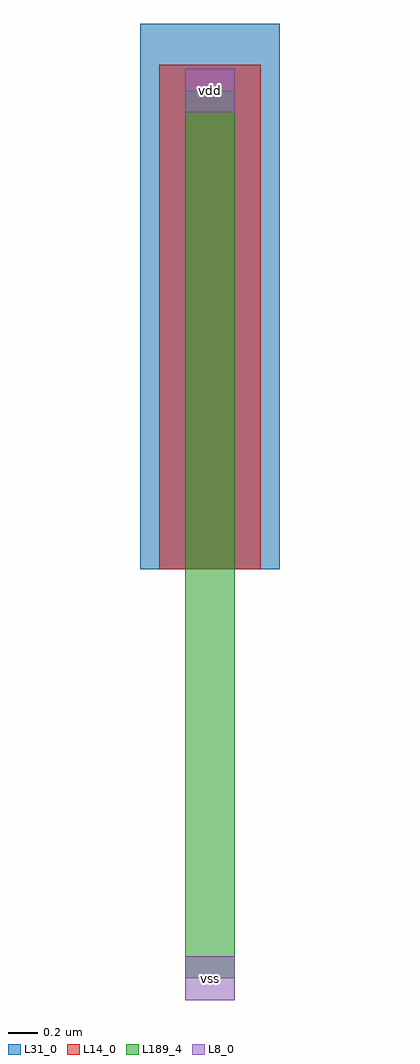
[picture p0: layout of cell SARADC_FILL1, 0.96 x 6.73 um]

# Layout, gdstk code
import gdstk
lib = gdstk.Library(unit=1e-6, precision=1e-09)
def R(c, l, rs):  # rectangles x0, y0, x1, y1
    for r in rs: c.add(gdstk.rectangle(r[:2], r[2:], *l))
L8_0 = (8, 0)
L14_0 = (14, 0)
L31_0 = (31, 0)
L63_0 = (63, 0)
L189_4 = (189, 4)

saradc_fill1 = lib.new_cell('SARADC_FILL1')
R(saradc_fill1, L8_0, [(0,-0.15,0.34,0.15), (0,5.97,0.34,6.27)])
R(saradc_fill1, L14_0, [(-0.18,2.82,0.52,5.94), (-0.18,5.94,0.52,6.3)])
R(saradc_fill1, L31_0, [(-0.31,2.82,0.65,6.58)])
R(saradc_fill1, L189_4, [(0,0,0.34,6.12)])
saradc_fill1.add(gdstk.FlexPath([(0,0.41),(0,0.41)], 0, ends="flush", simple_path=True, layer=63, datatype=0))  # L63_0
saradc_fill1.add(gdstk.FlexPath([(0,1.07),(0,1.07)], 0, ends="flush", simple_path=True, layer=63, datatype=0))  # L63_0
saradc_fill1.add(gdstk.FlexPath([(0,1.49),(0,1.49)], 0, ends="flush", simple_path=True, layer=63, datatype=0))  # L63_0
saradc_fill1.add(gdstk.FlexPath([(0,2.15),(0,2.15)], 0, ends="flush", simple_path=True, layer=63, datatype=0))  # L63_0
saradc_fill1.add(gdstk.FlexPath([(0,2.63),(0,2.63)], 0, ends="flush", simple_path=True, layer=63, datatype=0))  # L63_0
saradc_fill1.add(gdstk.FlexPath([(0,3.11),(0,3.11)], 0, ends="flush", simple_path=True, layer=63, datatype=0))  # L63_0
saradc_fill1.add(gdstk.FlexPath([(0,4.15),(0,4.15)], 0, ends="flush", simple_path=True, layer=63, datatype=0))  # L63_0
saradc_fill1.add(gdstk.FlexPath([(0,4.71),(0,4.71)], 0, ends="flush", simple_path=True, layer=63, datatype=0))  # L63_0
saradc_fill1.add(gdstk.FlexPath([(0,5.05),(0,5.05)], 0, ends="flush", simple_path=True, layer=63, datatype=0))  # L63_0
saradc_fill1.add(gdstk.FlexPath([(0,5.71),(0,5.71)], 0, ends="flush", simple_path=True, layer=63, datatype=0))  # L63_0
saradc_fill1.add(gdstk.FlexPath([(0.255,0),(0.255,0)], 0, ends="flush", simple_path=True, layer=63, datatype=0))  # L63_0
saradc_fill1.add(gdstk.Label('vss', (0.17,0), layer=8, texttype=2))
saradc_fill1.add(gdstk.Label('vdd', (0.17,6.12), layer=8, texttype=2))

lib.write_gds('SARADC_FILL1.gds')
